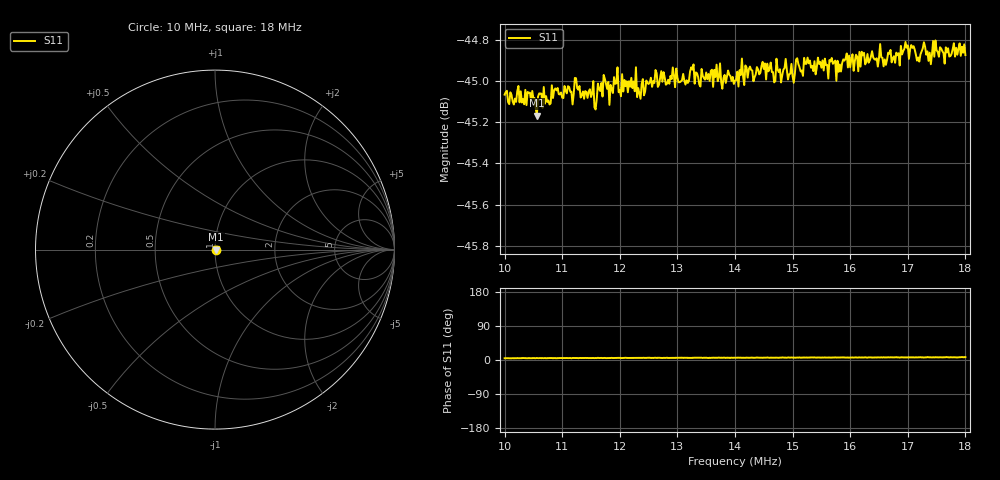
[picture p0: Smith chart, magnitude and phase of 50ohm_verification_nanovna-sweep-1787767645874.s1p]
! NanoVNA Web complex sweep
! Processing: original sample grid, no browser smoothing
# Hz S RI R 50
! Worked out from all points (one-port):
!   401 points, 10 MHz to 18 MHz, reference 50 ohm
!   lowest |S11| = -45.2 dB at 10.56 MHz (marker M1), VSWR 1.01, Z = 50.6 + j0.0514 ohm
!   |S11| at or under -10 dB: start of sweep to end of sweep
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1e7  0.00556 0.000444
1.056e7  0.00549 0.000508
1.1e7  0.00555 0.000488
1.126e7  0.00558 0.000518
1.16e7  0.00555 0.000487
1.176e7  0.00559 0.00049
1.184e7  0.00559 0.000512
1.2e7  0.00557 0.000553
1.224e7  0.0056 0.000512
1.234e7  0.00556 0.000506
1.26e7  0.00559 0.000568
1.3e7  0.00561 0.000582
1.316e7  0.0056 0.000585
1.324e7  0.00564 0.00054
1.4e7  0.00559 0.000596
1.448e7  0.00566 0.000577
1.5e7  0.0056 0.000625
1.524e7  0.00564 0.000652
1.57e7  0.00564 0.000652
1.58e7  0.00562 0.000649
1.6e7  0.00563 0.000644
1.66e7  0.00565 0.000659
1.7e7  0.0057 0.00067
1.718e7  0.00566 0.000696
1.726e7  0.00568 0.0007
1.736e7  0.00564 0.000717
1.748e7  0.00571 0.000729
1.8e7  0.00566 0.000754
